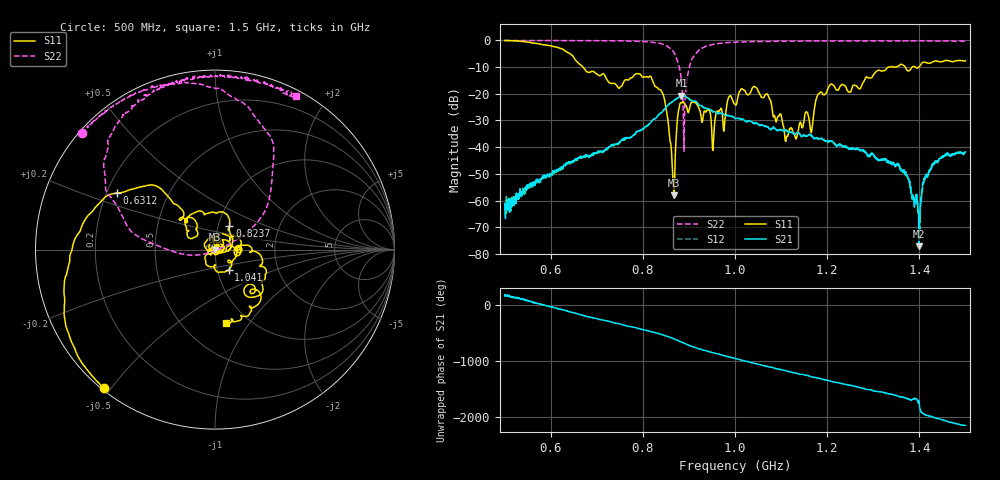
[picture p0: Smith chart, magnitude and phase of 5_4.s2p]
!Agilent Technologies,E8364B,US42250235,A.06.04.32
!Agilent E8364B: A.06.04.32
!Date: Friday, January 15, 2021 12:14:06
!Correction: S11(Full 2 Port(1,2)) S21(Full 2 Port(1,2)) S12(Full 2 Port(1,2)) S22(Full 2 Port(1,2))
!S2P File: Measurements: S11, S21, S12, S22:
# Hz S  dB  R 50
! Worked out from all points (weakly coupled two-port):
!   1601 points, 500 MHz to 1.5 GHz, reference 50 ohm
!   highest |S21| = -20.77 dB at 883.8 MHz (marker M1); lowest = -77.0 dB at 1.399 GHz (marker M2)
!   lowest |S11| = -58.0 dB at 868.1 MHz (marker M3), VSWR 1.00, Z = 50.1 - j0.0741 ohm
!   |S11| at or under -10 dB: 669.7 MHz to 1.337 GHz (667.5 MHz wide, 66.5 % of centre); 1.369 GHz to 1.385 GHz (15.16 MHz wide, 1.1 % of centre); 1.391 GHz to 1.399 GHz (8.227 MHz wide, 0.59 % of centre) (the widest 3 of 5)
!   |S22| runs from -41.6 to -0.1 dB; largest |S21 - S12| = 0.0044
!   S11 on the Smith chart (normalised r, x): 500 MHz: 0.01, -0.48; 631.2 MHz: 0.24, +0.25; 823.8 MHz: 1.13, +0.30; 1.041 GHz: 1.13, -0.26; 1.5 GHz: 0.79, -0.78
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5e8  -0.10 -128.9  -61.12 154.3  -62.86 -174.8  -0.12 138.7
6.3125e8  -4.02 149.9  -46.48 -105.2  -46.72 -100.3  -0.15 126.3
6.66875e8  -9.44 131.3  -43.57 174.2  -43.95 174.8  -0.15 122.5
8.2375e8  -16.25 58.7  -29.58 -131.7  -29.52 -128.4  -0.86 92.1
8.3375e8  -18.22 46.7  -28.02 -152.3  -27.99 -150.4  -1.04 87.1
8.48125e8  -23.20 -6.4  -25.48 171.6  -25.56 173.2  -1.76 77.0
8.68125e8  -57.99 -35.9  -22.49 110.3  -22.34 112.6  -4.79 55.8
8.7625e8  -27.51 -175.0  -21.59 83.6  -21.55 86.3  -8.36 40.1
8.8375e8  -23.42 135.7  -20.77 55.9  -20.75 57.9  -15.12 27.2
8.90625e8  -23.88 103.8  -20.91 29.7  -20.87 31.6  -27.20 -153.8
9.06875e8  -23.12 87.4  -22.59 -21.0  -22.55 -18.9  -6.98 169.6
9.525e8  -39.79 46.5  -26.84 -132.3  -26.65 -130.8  -1.51 135.2
1e9  -24.00 -4.0  -29.28 125.6  -29.16 127.6  -0.76 120.4
1.040625e9  -17.32 -55.9  -31.08 42.2  -31.08 42.8  -0.49 114.5
1.11125e9  -36.91 35.5  -33.58 -95.0  -33.94 -92.7  -0.40 104.5
1.166875e9  -33.42 87.0  -35.76 157.6  -35.88 159.2  -0.37 98.0
1.179375e9  -20.51 69.2  -36.79 137.5  -36.86 138.0  -0.28 97.4
1.206875e9  -16.56 24.9  -37.66 86.3  -37.82 86.8  -0.27 93.4
1.33375e9  -10.05 -25.4  -45.50 -140.0  -45.73 -140.1  -0.27 81.4
1.399375e9  -9.99 -44.7  -76.99 90.5  -68.40 95.3  -0.29 73.4
1.43e9  -7.98 -60.0  -46.61 165.4  -46.23 160.5  -0.26 70.6
1.5e9  -7.68 -81.8  -41.73 20.3  -41.94 16.9  -0.30 62.2
